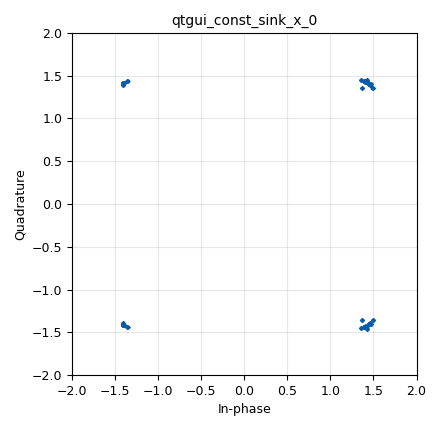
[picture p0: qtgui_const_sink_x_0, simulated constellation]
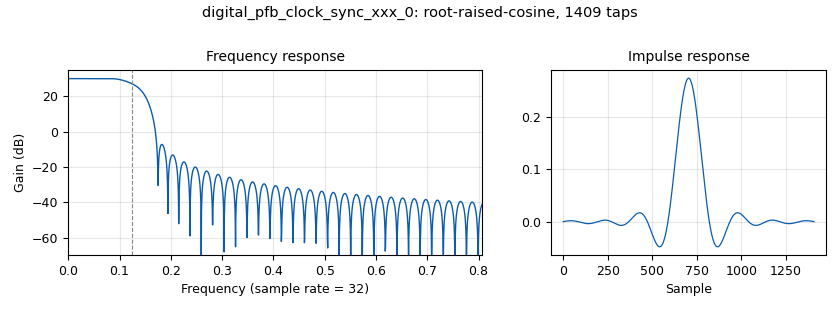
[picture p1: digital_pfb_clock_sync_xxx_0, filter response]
options:
  parameters:
    author: Camila Vinza
    category: Custom
    generate_options: qt_gui
    id: QPSK
    output_language: python
    title: QPSK
  states: {}

blocks:
- name: excess_bw
  id: variable
  parameters:
    value: '0.35'
  states: {}
- name: freq_rds
  id: variable_qtgui_range
  parameters:
    label: FrecuenciaRDS
    start: 1e6
    step: 1e3
    stop: 10e6
    value: 1e6
  states: {}
- name: gaintxrx
  id: variable_qtgui_range
  parameters:
    label: GananciaTxRx
    start: '1'
    step: '1'
    stop: '100'
    value: '80'
  states: {}
- name: interpolation
  id: variable
  parameters:
    value: '50'
  states: {}
- name: nfilts
  id: variable
  parameters:
    value: '32'
  states: {}
- name: phase_bw
  id: variable
  parameters:
    value: '0.0628'
  states: {}
- name: qpsk
  id: variable_constellation
  parameters:
    const_points: '[1, -1]'
    npwr: '0'
    precision: '8'
    sym_map: '[0,1]'
    type: qpsk
  states: {}
- name: rrc_taps
  id: variable
  parameters:
    value: firdes.root_raised_cosine(nfilts, nfilts, 1.0/float(sps), 0.35, 11*sps*nfilts)
  states: {}
- name: samp_rate
  id: variable
  parameters:
    value: '32000'
  states: {}
- name: samp_rate_RDS
  id: variable
  parameters:
    value: samp_rate*interpolation
  states: {}
- name: sps
  id: variable
  parameters:
    value: '4'
  states: {}
- name: variable_adaptive_algorithm_0
  id: variable_adaptive_algorithm
  parameters:
    cons: qpsk
    modulus: '4'
    step_size: '.0001'
    type: cma
  states: {}
- name: blocks_char_to_float_0_0
  id: blocks_char_to_float
  parameters:
    scale: '1'
  states: {}
- name: blocks_char_to_float_0_0_0
  id: blocks_char_to_float
  parameters:
    scale: '1'
  states: {}
- name: blocks_unpack_k_bits_bb_0
  id: blocks_unpack_k_bits_bb
  parameters:
    k: '2'
  states: {}
- name: blocks_vector_source_x_0_1_0
  id: blocks_vector_source_x
  parameters:
    repeat: 'True'
    type: byte
    vector: '[0,1,0,0,0,1]'
  states: {}
- name: digital_constellation_decoder_cb_0
  id: digital_constellation_decoder_cb
  parameters:
    constellation: qpsk
  states: {}
- name: digital_constellation_modulator_0_0
  id: digital_constellation_modulator
  parameters:
    constellation: qpsk
    differential: 'True'
    excess_bw: '0.35'
    samples_per_symbol: '4'
  states: {}
- name: digital_costas_loop_cc_0
  id: digital_costas_loop_cc
  parameters:
    order: '4'
    w: phase_bw
  states: {}
- name: digital_diff_decoder_bb_0
  id: digital_diff_decoder_bb
  parameters:
    coding: digital.DIFF_DIFFERENTIAL
    modulus: '2'
  states: {}
- name: digital_linear_equalizer_0
  id: digital_linear_equalizer
  parameters:
    alg: variable_adaptive_algorithm_0
    num_taps: '30'
    sps: '2'
  states: {}
- name: digital_map_bb_0
  id: digital_map_bb
  parameters:
    map: '[0,1,2,3]'
  states: {}
- name: digital_pfb_clock_sync_xxx_0
  id: digital_pfb_clock_sync_xxx
  parameters:
    filter_size: nfilts
    init_phase: nfilts/2
    loop_bw: phase_bw
    max_dev: '1.5'
    osps: '2'
    sps: sps
    taps: rrc_taps
    type: ccf
  states: {}
- name: qtgui_const_sink_x_0
  id: qtgui_const_sink_x
  parameters:
    gui_hint: 1,0,1,2
    size: '1024'
    type: complex
  states: {}
- name: qtgui_time_sink_x_0
  id: qtgui_time_sink_x
  parameters:
    comment: 1,2,1,2
    ctrlpanel: 'True'
    gui_hint: 1,2,1,2
    label1: ''
    label2: Original
    name: ''
    nconnections: '2'
    size: '64'
    srate: samp_rate
    tr_mode: qtgui.TRIG_MODE_AUTO
    type: float
    update_time: '0.5'
    ymax: '2'
    ymin: '-2'
  states: {}
- name: rational_resampler_xxx_0
  id: rational_resampler_xxx
  parameters:
    decim: '1'
    interp: interpolation
    type: ccc
  states: {}
- name: rational_resampler_xxx_0_0
  id: rational_resampler_xxx
  parameters:
    decim: interpolation
    interp: '1'
    type: ccc
  states: {}
- name: uhd_usrp_sink_0
  id: uhd_usrp_sink
  parameters:
    ant0: '"TX/RX"'
    bw0: 200e3
    center_freq0: freq_rds
    comment: Transmisor USRP
    dev_addr: '"serial=30875AE"'
    gain0: gaintxrx
    samp_rate: samp_rate_RDS
    sync: sync
    type: fc32
  states: {}
- name: uhd_usrp_source_0
  id: uhd_usrp_source
  parameters:
    ant0: '"RX2"'
    bw0: 200e3
    center_freq0: freq_rds
    comment: Receptor USRP
    dev_addr: '"serial=30875AE"'
    gain0: gaintxrx
    samp_rate: samp_rate_RDS
    sync: pc_clock
    type: fc32
  states: {}

connections:
- [blocks_char_to_float_0_0, '0', qtgui_time_sink_x_0, '0']
- [blocks_char_to_float_0_0_0, '0', qtgui_time_sink_x_0, '1']
- [blocks_unpack_k_bits_bb_0, '0', blocks_char_to_float_0_0, '0']
- [blocks_vector_source_x_0_1_0, '0', blocks_char_to_float_0_0_0, '0']
- [blocks_vector_source_x_0_1_0, '0', digital_constellation_modulator_0_0, '0']
- [digital_constellation_decoder_cb_0, '0', digital_diff_decoder_bb_0, '0']
- [digital_constellation_modulator_0_0, '0', digital_pfb_clock_sync_xxx_0, '0']
- [digital_costas_loop_cc_0, '0', digital_constellation_decoder_cb_0, '0']
- [digital_diff_decoder_bb_0, '0', digital_map_bb_0, '0']
- [digital_linear_equalizer_0, '0', qtgui_const_sink_x_0, '0']
- [digital_linear_equalizer_0, '0', rational_resampler_xxx_0, '0']
- [digital_map_bb_0, '0', blocks_unpack_k_bits_bb_0, '0']
- [digital_pfb_clock_sync_xxx_0, '0', digital_linear_equalizer_0, '0']
- [rational_resampler_xxx_0, '0', uhd_usrp_sink_0, '0']
- [rational_resampler_xxx_0_0, '0', digital_costas_loop_cc_0, '0']
- [uhd_usrp_source_0, '0', rational_resampler_xxx_0_0, '0']

metadata:
  file_format: 1
  grc_version: 3.10.8.0
